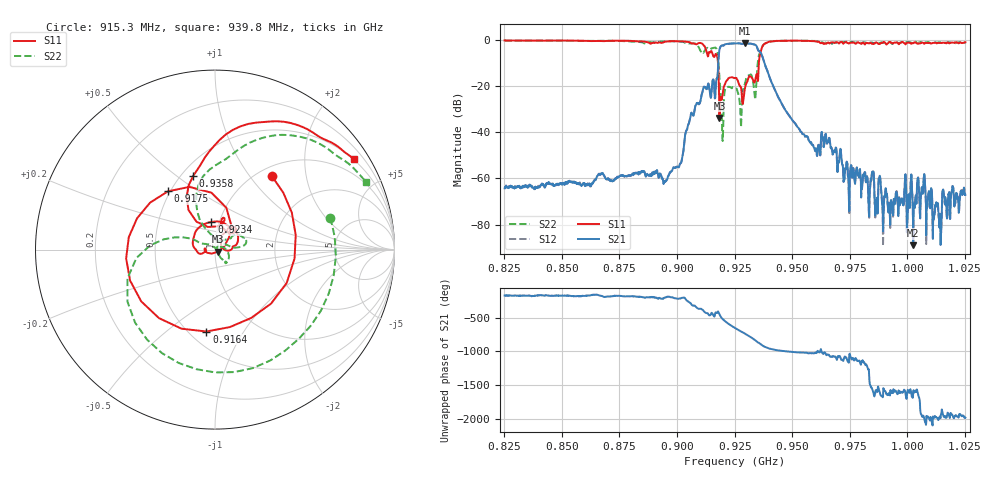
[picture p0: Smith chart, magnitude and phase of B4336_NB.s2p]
! Matrix data file written by TouchstoneData, EPCOS AG
! FILENAME: "B4336_NB.s2p"
! COMMENT: "(B4336_X17Y54_NB.s2p) Epcos AG 2/27/2014 3:3"
! INFO: nport=2, nfreq=1601
! DATE: "Fri Mar  7 18:00:46 2014"
! USER: "Rosemary Xue"
! port | pin | signal
!  1  |  1  |  IN
!  2  |  4  |  OUT
# MHZ S RI R 50
! freq  reS11 imS11  reS21 imS21  reS12 imS12  reS22 imS22
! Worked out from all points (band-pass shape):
!   1601 points, 825.1 MHz to 1.025 GHz, reference 50 ohm
!   highest |S21| = -1.32 dB at 929.6 MHz (marker M1); lowest = -89.0 dB at 1.003 GHz (marker M2)
!   |S21| within 3 dB of the highest: 918.4 MHz to 935.1 MHz (16.76 MHz wide, 1.81 % of centre)
!   lowest |S11| = -33.7 dB at 918.4 MHz (marker M3), VSWR 1.04, Z = 51.7 - j1.21 ohm
!   |S11| at or under -10 dB: 917.8 MHz to 935.5 MHz (17.72 MHz wide, 1.91 % of centre)
!   |S22| runs from -43.7 to -0.2 dB; largest |S21 - S12| = 0.0039
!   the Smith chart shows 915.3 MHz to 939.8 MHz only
!   S11 on the Smith chart (normalised r, x): 915.3 MHz: 1.15, +1.29; 916.4 MHz: 0.60, -0.70; 917.5 MHz: 0.49, +0.38; 923.4 MHz: 0.92, +0.29; 935.8 MHz: 0.57, +0.57; 939.8 MHz: 0.49, +3.31
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825.15  0.2708 -0.9481  -0.000596 -0.000128  -0.000606 -0.000127  0.3951 -0.8958
858.525  0.0958 -0.9672  -0.000717 -5.23e-05  -0.000688 -7.07e-05  0.2562 -0.9215
891.9  -0.2406 -0.8486  -0.00093 0.000668  -0.000986 0.000636  -0.0305 -0.9122
901.15  -0.5623 -0.7632  -0.00173 0.00104  -0.00173 0.00105  -0.4063 -0.84
908.525  -0.7623 -0.2883  0.0425 0.0092  0.0424 0.00918  -0.7494 -0.2886
912.775  -0.4322 0.3705  0.0301 -0.0814  0.03 -0.0812  -0.6076 0.2571
915.275  0.3169 0.4098  0.0329 -0.1136  0.0327 -0.1134  0.6434 0.1764
916.4  -0.0481 -0.4564  -0.0141 -0.0531  -0.014 -0.0529  0.3087 -0.6175
917.525  -0.2626 0.3246  0.0779 -0.1294  0.0773 -0.1294  -0.4877 -0.2896
918.4  0.017 -0.0117  0.0184 -0.6155  0.0173 -0.6138  -0.1374 0.0619
919.65  -0.0594 -0.0145  -0.6905 -0.3413  -0.6891 -0.3391  0.00234 0.00733
923.4  -0.02 0.1543  -0.2314 0.8151  -0.2289 0.8128  0.0573 -0.0738
925.15  0.0998 0.114  0.3057 0.788  0.306 0.7849  0.0604 -0.0687
929.65  0.0479 0.0874  0.8126 -0.2779  0.8103 -0.2791  0.098 0.0764
932.9  0.104 0.0934  0.0279 -0.8137  0.0272 -0.8118  0.1346 0.0133
935.775  -0.122 0.4099  -0.5305 -0.2172  -0.5298 -0.2154  0.0612 0.505
939.775  0.7742 0.5021  -0.1044 0.1462  -0.1041 0.1462  0.842 0.3753
958.525  0.7794 -0.5506  0.00316 0.0044  0.00317 0.00439  0.7996 -0.5444
991.9  0.6007 -0.668  -0.000274 1.4e-05  -0.000252 -6.12e-06  0.6164 -0.6511
1002.525  0.5184 -0.6817  -3.28e-05 -1.39e-05  -4.3e-05 1.71e-05  0.5942 -0.6774
1013.9  0.4968 -0.716  -8.56e-05 -4.23e-06  -9.12e-05 8.75e-07  0.5563 -0.7021
1025.15  0.4803 -0.7641  -0.000441 4.34e-05  -0.000457 4.21e-05  0.5423 -0.7018
